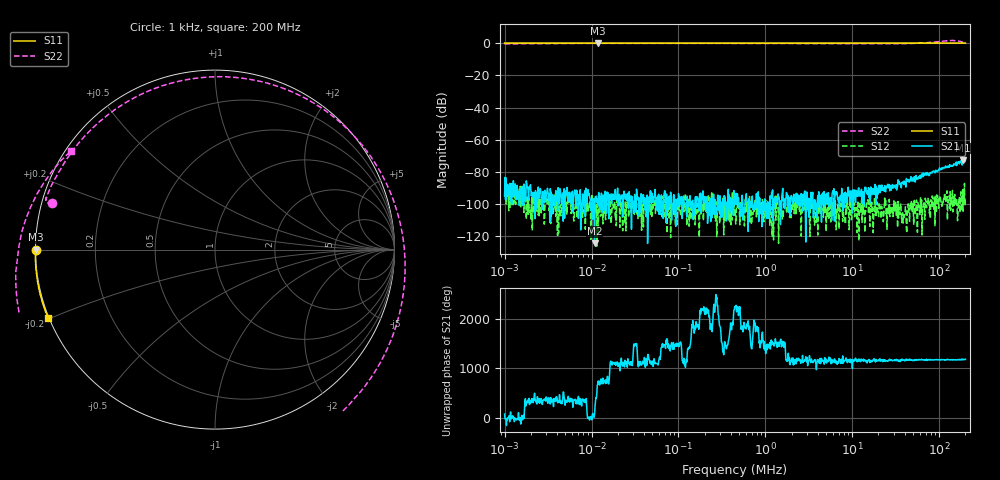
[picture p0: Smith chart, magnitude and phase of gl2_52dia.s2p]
! ListType=Log
# MHZ S RI R 50
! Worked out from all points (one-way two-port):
!   1000 points, 1 kHz to 200 MHz, reference 50 ohm
!   highest |S21| = -72.51 dB at 188.1 MHz (marker M1); lowest = -124.3 dB at 10.83 kHz (marker M2)
!   lowest |S11| = 0.0 dB at 11.95 kHz (marker M3), VSWR 535.61, Z = 0.0934 - j0.000366 ohm
!   |S11| at or under -10 dB: nowhere
!   |S22| runs from -0.5 to 1.7 dB; largest |S21 - S12| = 0.00025
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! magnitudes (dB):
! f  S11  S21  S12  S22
! 1 kHz  0.0  -94.9  -89.9  -0.5
! 7.694 kHz  0.0  -105.0  -101.3  -0.2
! 10.83 kHz  0.0  -124.3  -104.0  -0.1
! 11.95 kHz  0.0  -101.1  -117.4  -0.1
! 58.48 kHz  0.0  -102.8  -102.4  -0.1
! 450 kHz  0.0  -99.4  -102.7  -0.2
! 3.42 MHz  0.0  -98.8  -102.6  -0.2
! 26.31 MHz  0.0  -89.8  -106.0  -0.4
! 52.8 MHz  0.0  -86.3  -102.8  -0.1
! 78.06 MHz  0.0  -80.5  -101.4  0.4
! 85.03 MHz  0.0  -79.8  -101.5  0.6
! 93.76 MHz  0.0  -79.2  -94.2  0.8
! 109.9 MHz  0.0  -78.0  -100.1  1.2
! 114 MHz  0.0  -77.1  -97.7  1.3
! 142.1 MHz  0.0  -76.4  -91.4  1.7
! 164.5 MHz  0.0  -73.8  -104.9  1.4
! 168.6 MHz  0.0  -73.7  -99.3  1.3
! 170.6 MHz  0.0  -74.9  -95.3  1.2
! 172.7 MHz  0.0  -74.4  -105.2  1.1
! 188.1 MHz  0.0  -72.5  -104.3  0.5
! 195.2 MHz  0.0  -73.3  -87.1  0.1
! 200 MHz  0.0  -72.7  -96.8  -0.2
